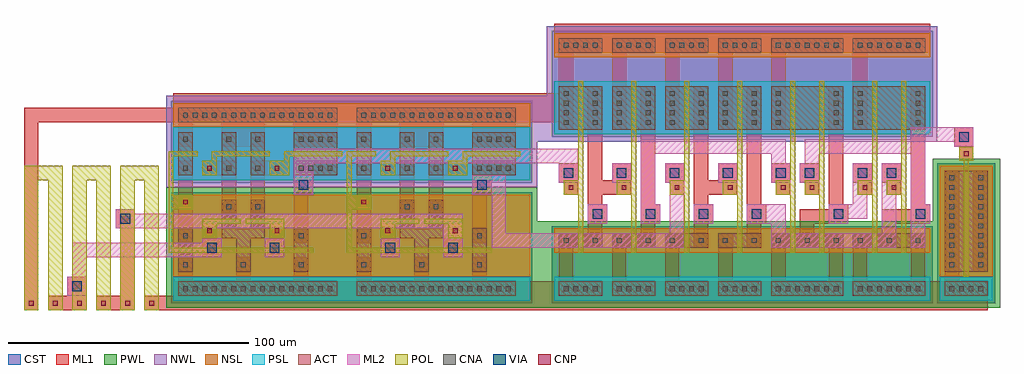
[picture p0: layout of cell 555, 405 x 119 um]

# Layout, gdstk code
import gdstk
lib = gdstk.Library(unit=1e-6, precision=1e-09)
def R(c, l, rs):  # rectangles x0, y0, x1, y1
    for r in rs: c.add(gdstk.rectangle(r[:2], r[2:], *l))
def A(c, l, x, y, w, h, nx, ny, dx, dy):  # array of equal rectangles
    R(c, l, [(x+i*dx, y+j*dy, x+i*dx+w, y+j*dy+h) for i in range(nx) for j in range(ny)])
NWL = (1, 0)
PWL = (2, 0)
CST = (3, 0)
ACT = (4, 0)
POL = (7, 0)
NSL = (8, 0)
PSL = (9, 0)
CNA = (10, 0)
CNP = (11, 0)
ML1 = (12, 0)
VIA = (13, 0)
ML2 = (14, 0)

inv1 = lib.new_cell('inv1')
R(inv1, NWL, [(-3,70,25,118)])
R(inv1, PWL, [(-3,1,25,37)])
R(inv1, CST, [(-1,3,23,35), (-1,72,23,116)])
R(inv1, ACT, [(2,6,20,12), (2,26,20,32), (2,75,20,93), (2,107,20,113)])
R(inv1, POL, [(10,24,12,95), (4,48,10,54)])
R(inv1, NSL, [(0,24,22,34), (0,105,22,115)])
R(inv1, PSL, [(0,4,22,14), (0,73,22,95)])
A(inv1, CNA, 4, 8, 2, 2, 4, 2, 4, 101)
A(inv1, CNA, 4, 77, 2, 2, 1, 4, 0, 4)
A(inv1, CNA, 16, 77, 2, 2, 1, 4, 0, 4)
R(inv1, CNA, [(4,28,6,30), (16,28,18,30)])
R(inv1, CNP, [(6,50,8,52)])
R(inv1, ML1, [(0,0,22,12), (2,12,8,32), (14,26,20,93), (14,36,22,44), (4,48,10,54), (2,53,10,61), (2,75,8,107), (0,107,22,119)])
R(inv1, VIA, [(16,38,20,42), (4,55,8,59)])
R(inv1, ML2, [(14,36,22,44), (2,53,10,61)])

cmp = lib.new_cell('cmp')
R(cmp, NWL, [(-3,51,77,89)])
R(cmp, PWL, [(-3,1,77,51)])
R(cmp, CST, [(-1,3,75,49), (-1,53,75,87)])
A(cmp, ACT, 2, 16, 6, 18, 3, 1, 24, 0)
R(cmp, ACT, [(2,6,68,12), (20,30,26,46), (32,30,38,46), (2,56,8,74), (20,56,26,74), (32,56,38,74), (50,56,68,74), (2,78,68,84)])
R(cmp, POL, [(-2,24,24,26), (24,24,58,26), (-2,26,0,64), (12,30,18,36), (40,30,46,36), (12,36,18,38), (18,36,28,38), (30,36,40,38), (40,36,46,38), (0,42,2,48), (2,42,8,48), (12,56,18,62), (40,56,46,62), (46,56,48,66), (16,62,18,66), (-2,64,10,66), (18,64,40,66), (48,64,70,66)])
R(cmp, NSL, [(0,14,74,48), (0,76,74,86)])
R(cmp, PSL, [(0,4,74,14), (0,54,74,76)])
A(cmp, CNA, 4, 8, 2, 2, 16, 2, 4, 72)
A(cmp, CNA, 4, 18, 2, 2, 3, 1, 24, 0)
A(cmp, CNA, 52, 58, 2, 2, 4, 2, 4, 12)
R(cmp, CNA, [(4,30,6,32), (52,30,54,32), (22,42,24,44), (34,42,36,44), (4,58,6,60), (22,58,24,60), (34,58,36,60), (4,70,6,72), (22,70,24,72), (34,70,36,72)])
R(cmp, CNP, [(14,32,16,34), (42,32,44,34), (4,44,6,46), (14,58,16,60), (42,58,44,60)])
A(cmp, ML1, 2, 12, 6, 10, 3, 1, 24, 0)
R(cmp, ML1, [(0,0,74,12), (12,22,20,30), (38,22,46,30), (2,28,8,62), (50,28,56,62), (12,30,18,36), (40,30,46,36), (20,40,26,62), (32,40,38,62), (2,42,8,48), (50,48,58,56), (12,56,18,62), (18,56,20,62), (38,56,40,62), (40,56,46,62), (56,56,68,62), (2,68,8,78), (20,68,38,78), (50,68,68,78), (0,78,74,90)])
R(cmp, VIA, [(14,24,18,28), (40,24,44,28), (52,50,56,54)])
R(cmp, ML2, [(12,22,20,30), (38,22,46,30), (50,48,58,56)])

nor2 = lib.new_cell('nor2')
R(nor2, NWL, [(-3,70,37,118)])
R(nor2, PWL, [(-3,1,37,37)])
R(nor2, CST, [(-1,3,35,35), (-1,72,35,116)])
R(nor2, ACT, [(2,6,32,12), (2,26,32,32), (2,75,32,93), (2,107,32,113)])
R(nor2, POL, [(10,24,12,95), (22,24,24,95), (4,48,10,54), (16,48,22,54)])
R(nor2, NSL, [(0,24,34,34), (0,105,34,115)])
R(nor2, PSL, [(0,4,34,14), (0,73,34,95)])
A(nor2, CNA, 4, 8, 2, 2, 7, 2, 4, 101)
A(nor2, CNA, 4, 28, 2, 2, 3, 1, 12, 0)
A(nor2, CNA, 4, 77, 2, 2, 1, 4, 0, 4)
A(nor2, CNA, 28, 77, 2, 2, 1, 4, 0, 4)
R(nor2, CNP, [(6,50,8,52), (18,50,20,52)])
R(nor2, ML1, [(0,0,34,12), (2,12,8,32), (26,12,32,32), (14,26,20,36), (14,36,26,42), (26,36,34,44), (26,36,32,93), (4,48,10,54), (16,48,22,54), (2,53,10,61), (14,53,22,61), (2,75,8,107), (0,107,34,119)])
R(nor2, VIA, [(28,38,32,42), (4,55,8,59), (16,55,20,59)])
R(nor2, ML2, [(26,36,34,44), (2,53,10,61), (14,53,22,61)])

r5k = lib.new_cell('R5k')
R(r5k, POL, [(0,0,6,60), (10,0,16,60), (6,54,10,60)])
R(r5k, CNP, [(2,2,4,4), (12,2,14,4)])
R(r5k, ML1, [(0,0,6,6), (10,0,16,6)])

c_555 = lib.new_cell('555')
R(c_555, NWL, [(151,70,155,89)])
R(c_555, PWL, [(151,1,155,37), (315,1,343,63)])
R(c_555, CST, [(317,3,341,61)])
R(c_555, ACT, [(320,6,338,12), (320,16,338,58)])
R(c_555, POL, [(328,14,330,60), (328,60,330,62), (326,62,332,68)])
R(c_555, NSL, [(318,14,340,60)])
R(c_555, PSL, [(318,4,340,14)])
A(c_555, CNA, 322, 8, 2, 2, 4, 1, 4, 0)
A(c_555, CNA, 322, 18, 2, 2, 1, 10, 0, 4)
A(c_555, CNA, 334, 18, 2, 2, 1, 10, 0, 4)
R(c_555, CNP, [(328,64,330,66)])
R(c_555, ML1, [(-46,0,-42,6), (-26,0,-22,6), (-6,0,0,6), (148,0,158,12), (314,0,338,12), (-62,6,-56,84), (-44,6,-36,14), (-22,6,-16,34), (320,12,326,58), (332,16,338,58), (-24,34,-16,42), (178,48,184,54), (222,48,228,54), (326,62,332,68), (324,68,332,76), (-56,78,0,84), (148,78,160,90)])
R(c_555, VIA, [(-42,8,-38,12), (-22,36,-18,40), (326,70,330,74)])
R(c_555, ML2, [(-44,6,-36,14), (-42,14,-36,22), (-42,22,12,28), (132,26,138,56), (138,26,206,32), (206,26,212,53), (248,26,294,32), (294,26,300,53), (306,26,312,36), (112,30,120,34), (248,32,254,44), (-24,34,-16,42), (-22,34,120,40), (246,36,248,44), (280,38,288,44), (194,44,200,65), (282,44,288,53), (306,44,312,71), (50,56,58,61), (50,61,168,67), (248,61,254,71), (262,61,268,71), (194,65,248,71), (268,65,306,71), (324,68,332,76), (306,70,324,76)])
c_555.add(gdstk.Reference(inv1, (224,0)))
c_555.add(gdstk.Reference(inv1, (202,0)))
c_555.add(gdstk.Reference(inv1, (180,0)))
c_555.add(gdstk.Reference(inv1, (158,0)))
c_555.add(gdstk.Reference(cmp, (74,0)))
c_555.add(gdstk.Reference(cmp, (0,0)))
c_555.add(gdstk.Reference(nor2, (280,0)))
c_555.add(gdstk.Reference(nor2, (246,0)))
c_555.add(gdstk.Reference(r5k, (-62,0)))
c_555.add(gdstk.Reference(r5k, (-22,0)))
c_555.add(gdstk.Reference(r5k, (-42,0)))

lib.write_gds('555.gds')
